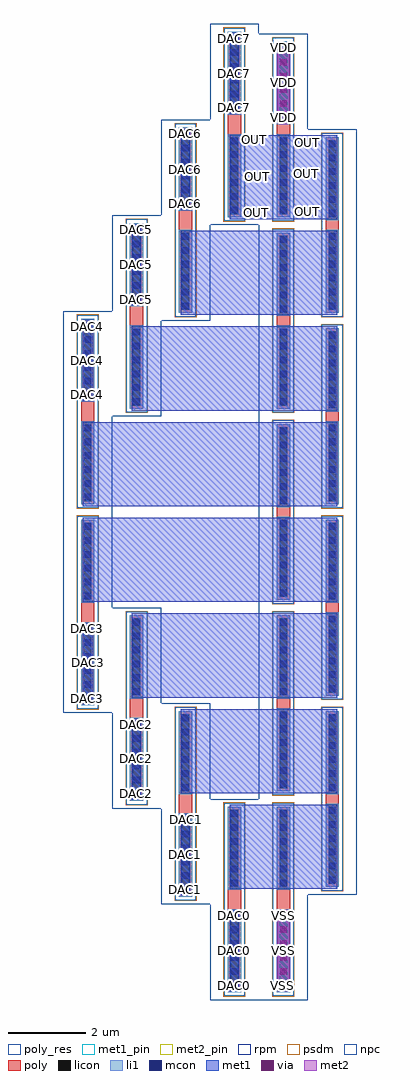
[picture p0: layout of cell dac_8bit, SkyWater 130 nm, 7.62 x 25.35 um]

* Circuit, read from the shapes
.subckt dac_8bit DAC0 DAC1 DAC2 DAC3 DAC4 DAC5 DAC6 DAC7 OUT VDD VSS
XR1 n1 DAC3 VSUBS sky130_fd_pr__res_high_po w=0.35 l=0.5
XR2 DAC4 n2 VSUBS sky130_fd_pr__res_high_po w=0.35 l=0.5
XR3 n3 DAC2 VSUBS sky130_fd_pr__res_high_po w=0.35 l=0.5
XR4 DAC5 n4 VSUBS sky130_fd_pr__res_high_po w=0.35 l=0.5
XR5 n5 DAC1 VSUBS sky130_fd_pr__res_high_po w=0.35 l=0.5
XR6 DAC6 n6 VSUBS sky130_fd_pr__res_high_po w=0.35 l=0.5
XR7 n7 DAC0 VSUBS sky130_fd_pr__res_high_po w=0.35 l=0.5
XR8 DAC7 OUT VSUBS sky130_fd_pr__res_high_po w=0.35 l=0.5
XR9 n7 VSS VSUBS sky130_fd_pr__res_high_po w=0.35 l=0.5
XR10 n3 n5 VSUBS sky130_fd_pr__res_high_po w=0.35 l=0.25
XR11 n2 n1 VSUBS sky130_fd_pr__res_high_po w=0.35 l=0.25
XR12 n6 n4 VSUBS sky130_fd_pr__res_high_po w=0.35 l=0.25
XR13 VDD OUT VSUBS sky130_fd_pr__res_high_po w=0.35 l=0.25
XR14 n5 n7 VSUBS sky130_fd_pr__res_high_po w=0.35 l=0.25
XR15 n1 n3 VSUBS sky130_fd_pr__res_high_po w=0.35 l=0.25
XR16 n4 n2 VSUBS sky130_fd_pr__res_high_po w=0.35 l=0.25
XR17 OUT n6 VSUBS sky130_fd_pr__res_high_po w=0.35 l=0.25
.ends

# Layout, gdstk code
import gdstk
lib = gdstk.Library(unit=1e-6, precision=1e-09)
def R(c, l, rs):  # rectangles x0, y0, x1, y1
    for r in rs: c.add(gdstk.rectangle(r[:2], r[2:], *l))
def A(c, l, x, y, w, h, nx, ny, dx, dy):  # array of equal rectangles
    R(c, l, [(x+i*dx, y+j*dy, x+i*dx+w, y+j*dy+h) for i in range(nx) for j in range(ny)])
poly_res = (66, 13)
poly = (66, 20)
licon = (66, 44)
li1 = (67, 20)
mcon = (67, 44)
met1_pin = (68, 16)
met1 = (68, 20)
via = (68, 44)
met2_pin = (69, 16)
met2 = (69, 20)
rpm = (86, 20)
psdm = (94, 20)
npc = (95, 20)

res_poly_3 = lib.new_cell('res_poly$3')
R(res_poly_3, poly_res, [(-0.175,-0.31,0.175,0.31)])
R(res_poly_3, poly, [(-0.175,-2.41,0.175,2.41)])
R(res_poly_3, licon, [(-0.095,-2.33,0.095,-0.33), (-0.095,0.33,0.095,2.33)])
R(res_poly_3, li1, [(-0.175,-2.41,0.175,-0.25), (-0.175,0.25,0.175,2.41)])
A(res_poly_3, mcon, -0.085, -2.31, 0.17, 0.17, 1, 6, 0, 0.36)
A(res_poly_3, mcon, -0.085, 0.345, 0.17, 0.17, 1, 6, 0, 0.36)
R(res_poly_3, met1, [(-0.125,-2.38,0.125,-0.276), (-0.125,0.276,0.125,2.38)])
R(res_poly_3, rpm, [(-0.635,-2.61,0.635,2.61)])
R(res_poly_3, psdm, [(-0.285,-2.52,0.285,2.52)])
R(res_poly_3, npc, [(-0.27,-2.505,0.27,2.505)])

res_poly_4 = lib.new_cell('res_poly$4')
R(res_poly_4, poly_res, [(-0.175,-0.185,0.175,0.185)])
R(res_poly_4, poly, [(-0.175,-2.285,0.175,2.285)])
R(res_poly_4, licon, [(-0.095,-2.205,0.095,-0.205), (-0.095,0.205,0.095,2.205)])
R(res_poly_4, li1, [(-0.175,-2.285,0.175,-0.125), (-0.175,0.125,0.175,2.285)])
A(res_poly_4, mcon, -0.085, -2.185, 0.17, 0.17, 1, 6, 0, 0.36)
A(res_poly_4, mcon, -0.085, 0.22, 0.17, 0.17, 1, 6, 0, 0.36)
R(res_poly_4, met1, [(-0.125,-2.255,0.125,-0.151), (-0.125,0.151,0.125,2.255)])
R(res_poly_4, rpm, [(-0.635,-2.485,0.635,2.485)])
R(res_poly_4, psdm, [(-0.285,-2.395,0.285,2.395)])
R(res_poly_4, npc, [(-0.27,-2.38,0.27,2.38)])

dac_8bit = lib.new_cell('dac_8bit')
R(dac_8bit, met1_pin, [(3.97,0.14,4.22,2.244), (2.7,2.625,2.95,4.729), (1.43,5.11,1.68,7.214), (0.16,7.595,0.41,9.699), (0.16,15.471,0.41,17.575), (1.43,17.956,1.68,20.06), (3.97,20.191,6.76,22.374), (2.7,20.441,2.95,22.545), (3.97,22.926,4.22,25.03)])
R(dac_8bit, met1, [(5.205,0.135,5.525,2.255), (3.97,2.796,6.76,4.979), (2.7,5.281,6.76,7.464), (1.43,7.766,6.76,9.949), (0.16,10.251,6.76,12.434), (0.16,12.736,6.76,14.919), (1.43,15.221,6.76,17.404), (0.16,15.471,0.41,17.575), (2.7,17.706,6.76,19.889), (3.97,20.191,6.76,22.374), (5.205,22.67,5.525,24.79)])
A(dac_8bit, via, 5.29, 0.22, 0.15, 0.15, 1, 5, 0, 0.36)
A(dac_8bit, via, 5.29, 22.755, 0.15, 0.15, 1, 6, 0, 0.36)
R(dac_8bit, via, [(5.29,2.021,5.44,2.171)])
R(dac_8bit, met2_pin, [(5.205,0.135,5.525,2.256), (5.205,22.67,5.525,24.79)])
R(dac_8bit, met2, [(5.205,0.135,5.525,2.256), (5.205,22.67,5.525,24.79)])
dac_8bit.add(gdstk.Reference(res_poly_3, (0.285,15.195)))
dac_8bit.add(gdstk.Reference(res_poly_3, (1.555,7.49)))
dac_8bit.add(gdstk.Reference(res_poly_4, (5.365,12.585)))
dac_8bit.add(gdstk.Reference(res_poly_3, (1.555,17.68)))
dac_8bit.add(gdstk.Reference(res_poly_3, (0.285,9.975)))
dac_8bit.add(gdstk.Reference(res_poly_3, (5.365,2.52)))
dac_8bit.add(gdstk.Reference(res_poly_4, (5.365,7.615)))
dac_8bit.add(gdstk.Reference(res_poly_4, (6.635,5.13)))
dac_8bit.add(gdstk.Reference(res_poly_4, (6.635,15.07)))
dac_8bit.add(gdstk.Reference(res_poly_3, (4.095,22.65)))
dac_8bit.add(gdstk.Reference(res_poly_4, (6.635,20.04)))
dac_8bit.add(gdstk.Reference(res_poly_3, (2.825,20.165)))
dac_8bit.add(gdstk.Reference(res_poly_4, (5.365,17.555)))
dac_8bit.add(gdstk.Reference(res_poly_4, (5.365,22.525)))
dac_8bit.add(gdstk.Reference(res_poly_3, (4.095,2.52)))
dac_8bit.add(gdstk.Reference(res_poly_3, (2.825,5.005)))
dac_8bit.add(gdstk.Reference(res_poly_4, (6.635,10.1)))
dac_8bit.add(gdstk.Label('OUT', (4.667,20.363), layer=68, texttype=5))
dac_8bit.add(gdstk.Label('OUT', (4.686,21.303), layer=68, texttype=5))
dac_8bit.add(gdstk.Label('OUT', (4.617,22.248), layer=68, texttype=5))
dac_8bit.add(gdstk.Label('DAC5', (1.543,18.113), layer=68, texttype=5))
dac_8bit.add(gdstk.Label('DAC5', (1.556,19.023), layer=68, texttype=5))
dac_8bit.add(gdstk.Label('DAC5', (1.543,19.921), layer=68, texttype=5))
dac_8bit.add(gdstk.Label('DAC6', (2.823,20.59), layer=68, texttype=5))
dac_8bit.add(gdstk.Label('DAC7', (4.088,24.886), layer=68, texttype=5))
dac_8bit.add(gdstk.Label('DAC6', (2.815,22.406), layer=68, texttype=5))
dac_8bit.add(gdstk.Label('DAC6', (2.827,21.484), layer=68, texttype=5))
dac_8bit.add(gdstk.Label('DAC7', (4.088,23.079), layer=68, texttype=5))
dac_8bit.add(gdstk.Label('DAC7', (4.085,23.984), layer=68, texttype=5))
dac_8bit.add(gdstk.Label('OUT', (5.984,22.193), layer=68, texttype=5))
dac_8bit.add(gdstk.Label('OUT', (5.979,21.367), layer=68, texttype=5))
dac_8bit.add(gdstk.Label('OUT', (5.984,20.4), layer=68, texttype=5))
dac_8bit.add(gdstk.Label('DAC4', (0.284,17.415), layer=68, texttype=5))
dac_8bit.add(gdstk.Label('DAC4', (0.276,16.522), layer=68, texttype=5))
dac_8bit.add(gdstk.Label('DAC4', (0.276,15.624), layer=68, texttype=5))
dac_8bit.add(gdstk.Label('DAC3', (0.288,9.569), layer=68, texttype=5))
dac_8bit.add(gdstk.Label('DAC3', (0.293,8.679), layer=68, texttype=5))
dac_8bit.add(gdstk.Label('DAC3', (0.28,7.753), layer=68, texttype=5))
dac_8bit.add(gdstk.Label('DAC2', (1.561,6.19), layer=68, texttype=5))
dac_8bit.add(gdstk.Label('DAC2', (1.547,7.056), layer=68, texttype=5))
dac_8bit.add(gdstk.Label('DAC2', (1.561,5.274), layer=68, texttype=5))
dac_8bit.add(gdstk.Label('DAC1', (2.824,3.692), layer=68, texttype=5))
dac_8bit.add(gdstk.Label('DAC1', (2.841,4.597), layer=68, texttype=5))
dac_8bit.add(gdstk.Label('DAC1', (2.83,2.782), layer=68, texttype=5))
dac_8bit.add(gdstk.Label('DAC0', (4.107,1.204), layer=68, texttype=5))
dac_8bit.add(gdstk.Label('DAC0', (4.092,2.096), layer=68, texttype=5))
dac_8bit.add(gdstk.Label('DAC0', (4.092,0.298), layer=68, texttype=5))
dac_8bit.add(gdstk.Label('VDD', (5.36,24.65), layer=69, texttype=5))
dac_8bit.add(gdstk.Label('VDD', (5.36,23.746), layer=69, texttype=5))
dac_8bit.add(gdstk.Label('VDD', (5.36,22.827), layer=69, texttype=5))
dac_8bit.add(gdstk.Label('VSS', (5.369,1.194), layer=69, texttype=5))
dac_8bit.add(gdstk.Label('VSS', (5.351,0.289), layer=69, texttype=5))
dac_8bit.add(gdstk.Label('VSS', (5.359,2.092), layer=69, texttype=5))

lib.write_gds('dac_8bit.gds')
